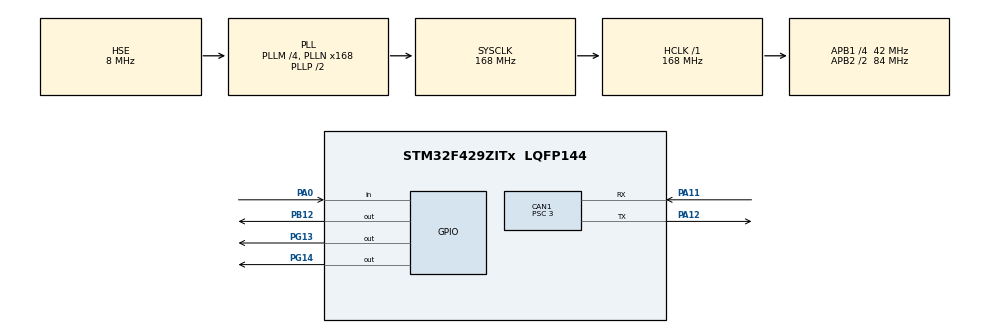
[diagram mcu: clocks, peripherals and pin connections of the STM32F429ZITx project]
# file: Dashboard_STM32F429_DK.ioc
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CAN1.BS1=CAN_BS1_11TQ
CAN1.BS2=CAN_BS2_2TQ
CAN1.CalculateBaudRate=1000000
CAN1.CalculateTimeBit=1000
CAN1.CalculateTimeQuantum=71.42857142857143
CAN1.NART=ENABLE
CAN1.Prescaler=3
FREERTOS.Tasks01=defaultTask,24,128,StartDefaultTask,Default,NULL,Dynamic,NULL,NULL;TaskRecData,32,128,RecesiveData,As external,NULL,Dynamic,NULL,NULL
FREERTOS.configENABLE_FPU=1
FREERTOS.configTICK_RATE_HZ=1000
FREERTOS.configUSE_NEWLIB_REENTRANT=1
Mcu.Family=STM32F4
Mcu.Name=STM32F429ZITx
Mcu.Package=LQFP144
NVIC.CAN1_RX0_IRQn=true\:5\:0\:false\:false\:true\:true\:true\:true\:true
NVIC.CAN1_SCE_IRQn=true\:5\:0\:false\:false\:true\:true\:true\:true\:true
NVIC.PriorityGroup=NVIC_PRIORITYGROUP_4
NVIC.TIM8_TRG_COM_TIM14_IRQn=true\:15\:0\:false\:false\:true\:false\:false\:true\:true
NVIC.TimeBase=TIM8_TRG_COM_TIM14_IRQn
NVIC.TimeBaseIP=TIM14
PA0/WKUP.Signal=GPIO_Input
PA11.Mode=CAN_Activate
PA11.Signal=CAN1_RX
PA12.Mode=CAN_Activate
PA12.Signal=CAN1_TX
PA13.Mode=Serial_Wire
PA13.Signal=SYS_JTMS-SWDIO
PA14.Mode=Serial_Wire
PA14.Signal=SYS_JTCK-SWCLK
PB12.Signal=GPIO_Output
PG13.Signal=GPIO_Output
PG14.Signal=GPIO_Output
PH0/OSC_IN.Mode=HSE-External-Oscillator
PH0/OSC_IN.Signal=RCC_OSC_IN
PH1/OSC_OUT.Mode=HSE-External-Oscillator
PH1/OSC_OUT.Signal=RCC_OSC_OUT
ProjectManager.HeapSize=0x200
ProjectManager.StackSize=0x400
ProjectManager.TargetToolchain=STM32CubeIDE
RCC.48MHZClocksFreq_Value=84000000
RCC.AHBFreq_Value=168000000
RCC.APB1CLKDivider=RCC_HCLK_DIV4
RCC.APB1Freq_Value=42000000
RCC.APB1TimFreq_Value=84000000
RCC.APB2CLKDivider=RCC_HCLK_DIV2
RCC.APB2Freq_Value=84000000
RCC.APB2TimFreq_Value=168000000
RCC.CortexFreq_Value=168000000
RCC.HCLKFreq_Value=168000000
RCC.HSE_Timout=200
RCC.HSE_VALUE=8000000
RCC.HSI_VALUE=16000000
RCC.LSE_VALUE=32768
RCC.PLLM=4
RCC.PLLN=168
RCC.PLLSourceVirtual=RCC_PLLSOURCE_HSE
RCC.SYSCLKFreq_VALUE=168000000
RCC.SYSCLKSource=RCC_SYSCLKSOURCE_PLLCLK
RCC.VCOOutputFreq_Value=336000000
VP_FREERTOS_VS_CMSIS_V2.Mode=CMSIS_V2
VP_SYS_VS_tim14.Mode=TIM14
board=custom

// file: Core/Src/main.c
/* USER CODE BEGIN Header */
/**
  ******************************************************************************
  * @file           : main.c
  * @brief          : Main program body
  ******************************************************************************
  * @attention
  *
  * Copyright (c) 2025 STMicroelectronics.
  * All rights reserved.
  *
  * This software is licensed under terms that can be found in the LICENSE file
  * in the root directory of this software component.
  * If no LICENSE file comes with this software, it is provided AS-IS.
  *
  ******************************************************************************
  */
/* USER CODE END Header */
#include "main.h"
#include "cmsis_os.h"

/* USER CODE BEGIN Includes */
#include "CAN_driver.h"
#include "CAN_protocol.h"
/* USER CODE END Includes */

CAN_HandleTypeDef hcan1;

/* Definitions for defaultTask */
osThreadId_t defaultTaskHandle;
const osThreadAttr_t defaultTask_attributes = {
  .name = "defaultTask",
  .stack_size = 128 * 4,
  .priority = (osPriority_t) osPriorityNormal,
};
/* Definitions for TaskRecData */
osThreadId_t TaskRecDataHandle;
const osThreadAttr_t TaskRecData_attributes = {
  .name = "TaskRecData",
  .stack_size = 128 * 4,
  .priority = (osPriority_t) osPriorityAboveNormal,
};

void SystemClock_Config(void);
static void MX_GPIO_Init(void);
static void MX_CAN1_Init(void);
void StartDefaultTask(void *argument);
extern void RecesiveData(void *argument);

int main(void)
{

  /* MCU Configuration--------------------------------------------------------*/

  /* Reset of all peripherals, Initializes the Flash interface and the Systick. */
  HAL_Init();

  /* Configure the system clock */
  SystemClock_Config();

  /* Initialize all configured peripherals */
  MX_GPIO_Init();
  MX_CAN1_Init();
  /* USER CODE BEGIN 2 */

  CAN_Driver_AddFilterMask(&hcan1, 0x100, 0x200);
  CAN_Protocol_Init(&hcan1);

  /* USER CODE END 2 */

  /* Init scheduler */
  osKernelInitialize();

  /* Create the thread(s) */
  /* creation of defaultTask */
  defaultTaskHandle = osThreadNew(StartDefaultTask, NULL, &defaultTask_attributes);

  /* creation of TaskRecData */
  TaskRecDataHandle = osThreadNew(RecesiveData, NULL, &TaskRecData_attributes);

  /* Start scheduler */
  osKernelStart();

  /* We should never get here as control is now taken by the scheduler */

  /* Infinite loop */
  while (1)
  {

  }
}

void SystemClock_Config(void)
{
  RCC_OscInitTypeDef RCC_OscInitStruct = {0};
  RCC_ClkInitTypeDef RCC_ClkInitStruct = {0};

  /** Configure the main internal regulator output voltage
  */
  __HAL_RCC_PWR_CLK_ENABLE();
  __HAL_PWR_VOLTAGESCALING_CONFIG(PWR_REGULATOR_VOLTAGE_SCALE1);

  /** Initializes the RCC Oscillators according to the specified parameters
  * in the RCC_OscInitTypeDef structure.
  */
  RCC_OscInitStruct.OscillatorType = RCC_OSCILLATORTYPE_HSE;
  RCC_OscInitStruct.HSEState = RCC_HSE_ON;
  RCC_OscInitStruct.PLL.PLLState = RCC_PLL_ON;
  RCC_OscInitStruct.PLL.PLLSource = RCC_PLLSOURCE_HSE;
  RCC_OscInitStruct.PLL.PLLM = 4;
  RCC_OscInitStruct.PLL.PLLN = 168;
  RCC_OscInitStruct.PLL.PLLP = RCC_PLLP_DIV2;
  RCC_OscInitStruct.PLL.PLLQ = 4;
  if (HAL_RCC_OscConfig(&RCC_OscInitStruct) != HAL_OK)
  {
    Error_Handler();
  }

  /** Initializes the CPU, AHB and APB buses clocks
  */
  RCC_ClkInitStruct.ClockType = RCC_CLOCKTYPE_HCLK|RCC_CLOCKTYPE_SYSCLK
                              |RCC_CLOCKTYPE_PCLK1|RCC_CLOCKTYPE_PCLK2;
  RCC_ClkInitStruct.SYSCLKSource = RCC_SYSCLKSOURCE_PLLCLK;
  RCC_ClkInitStruct.AHBCLKDivider = RCC_SYSCLK_DIV1;
  RCC_ClkInitStruct.APB1CLKDivider = RCC_HCLK_DIV4;
  RCC_ClkInitStruct.APB2CLKDivider = RCC_HCLK_DIV2;

  if (HAL_RCC_ClockConfig(&RCC_ClkInitStruct, FLASH_LATENCY_5) != HAL_OK)
  {
    Error_Handler();
  }
}

static void MX_CAN1_Init(void)
{

  hcan1.Instance = CAN1;
  hcan1.Init.Prescaler = 3;
  hcan1.Init.Mode = CAN_MODE_NORMAL;
  hcan1.Init.SyncJumpWidth = CAN_SJW_1TQ;
  hcan1.Init.TimeSeg1 = CAN_BS1_11TQ;
  hcan1.Init.TimeSeg2 = CAN_BS2_2TQ;
  hcan1.Init.TimeTriggeredMode = DISABLE;
  hcan1.Init.AutoBusOff = DISABLE;
  hcan1.Init.AutoWakeUp = DISABLE;
  hcan1.Init.AutoRetransmission = ENABLE;
  hcan1.Init.ReceiveFifoLocked = DISABLE;
  hcan1.Init.TransmitFifoPriority = DISABLE;
  if (HAL_CAN_Init(&hcan1) != HAL_OK)
  {
    Error_Handler();
  }

}

static void MX_GPIO_Init(void)
{
  GPIO_InitTypeDef GPIO_InitStruct = {0};

  /* GPIO Ports Clock Enable */
  __HAL_RCC_GPIOH_CLK_ENABLE();
  __HAL_RCC_GPIOA_CLK_ENABLE();
  __HAL_RCC_GPIOB_CLK_ENABLE();
  __HAL_RCC_GPIOG_CLK_ENABLE();

  /*Configure GPIO pin Output Level */
  HAL_GPIO_WritePin(GPIOB, GPIO_PIN_12, GPIO_PIN_RESET);

  /*Configure GPIO pin Output Level */
  HAL_GPIO_WritePin(GPIOG, GPIO_PIN_13|GPIO_PIN_14, GPIO_PIN_RESET);

  /*Configure GPIO pin : PA0 */
  GPIO_InitStruct.Pin = GPIO_PIN_0;
  GPIO_InitStruct.Mode = GPIO_MODE_INPUT;
  GPIO_InitStruct.Pull = GPIO_NOPULL;
  HAL_GPIO_Init(GPIOA, &GPIO_InitStruct);

  /*Configure GPIO pin : PB12 */
  GPIO_InitStruct.Pin = GPIO_PIN_12;
  GPIO_InitStruct.Mode = GPIO_MODE_OUTPUT_PP;
  GPIO_InitStruct.Pull = GPIO_NOPULL;
  GPIO_InitStruct.Speed = GPIO_SPEED_FREQ_LOW;
  HAL_GPIO_Init(GPIOB, &GPIO_InitStruct);

  /*Configure GPIO pins : PG13 PG14 */
  GPIO_InitStruct.Pin = GPIO_PIN_13|GPIO_PIN_14;
  GPIO_InitStruct.Mode = GPIO_MODE_OUTPUT_PP;
  GPIO_InitStruct.Pull = GPIO_NOPULL;
  GPIO_InitStruct.Speed = GPIO_SPEED_FREQ_LOW;
  HAL_GPIO_Init(GPIOG, &GPIO_InitStruct);

}

void StartDefaultTask(void *argument)
{
  for(;;)
  {
    osDelay(1);
  }
}

void HAL_TIM_PeriodElapsedCallback(TIM_HandleTypeDef *htim)
{
  if (htim->Instance == TIM14)
  {
    HAL_IncTick();
  }
}

void Error_Handler(void)
{
  __disable_irq();
  while (1)
  {
  }
}

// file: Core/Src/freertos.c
/* USER CODE BEGIN Header */
/**
  ******************************************************************************
  * File Name          : freertos.c
  * Description        : Code for freertos applications
  ******************************************************************************
  * @attention
  *
  * Copyright (c) 2025 STMicroelectronics.
  * All rights reserved.
  *
  * This software is licensed under terms that can be found in the LICENSE file
  * in the root directory of this software component.
  * If no LICENSE file comes with this software, it is provided AS-IS.
  *
  ******************************************************************************
  */
/* USER CODE END Header */

#include "FreeRTOS.h"
#include "task.h"
#include "main.h"

/* USER CODE BEGIN Includes */
#include "cmsis_os2.h"
#include "CAN_driver.h"
#include "CAN_protocol.h"
/* USER CODE END Includes */

/* USER CODE BEGIN Variables */
uint8_t array[50];
uint8_t TxData[8] = {0x03, 0x02, 0x06, 0x00, 0x05, 0x06, 0x07, 0x08};
/* USER CODE END Variables */

/* USER CODE BEGIN Application */
void RecesiveData(void *argument)
{
	for(;;)
	{
		  if(HAL_GPIO_ReadPin(GPIOA, GPIO_PIN_0) == GPIO_PIN_SET)
		  {
			  HAL_GPIO_WritePin(GPIOG, GPIO_PIN_13, SET);
			  CAN_Driver_Transmit(0x102, TxData, 8, CAN_RTR_DATA);
			  osDelay(500);
		  }else{
			  HAL_GPIO_WritePin(GPIOG, GPIO_PIN_13, RESET);
		  }
		  CAN_Protocol_ProcessQueue();

	}
}
/* USER CODE END Application */
